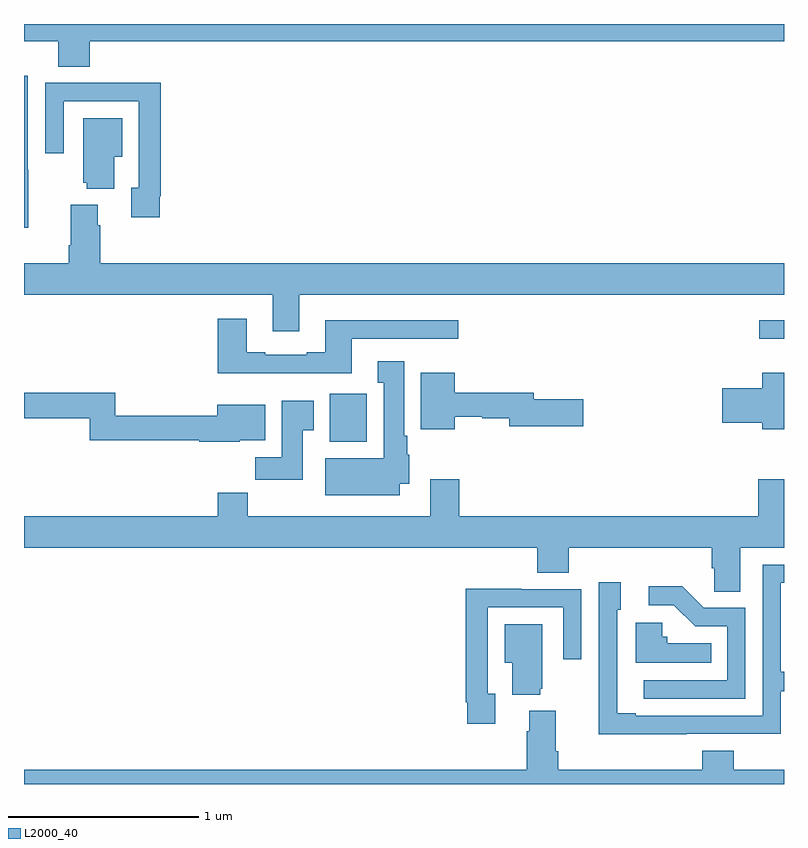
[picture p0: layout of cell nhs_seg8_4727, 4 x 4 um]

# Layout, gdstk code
import gdstk
lib = gdstk.Library(unit=1e-6, precision=1e-09)
def R(c, l, rs):  # rectangles x0, y0, x1, y1
    for r in rs: c.add(gdstk.rectangle(r[:2], r[2:], *l))
def P(c, l, *ps):  # polygons
    for p in ps: c.add(gdstk.Polygon(p, *l))
L2000_40 = (2000, 40)

nhs_seg8_4727 = lib.new_cell('nhs_seg8_4727')
R(nhs_seg8_4727, L2000_40, [(398.609,1139.702,398.805,1139.953), (400.869,1140.243,401,1140.34)])
P(nhs_seg8_4727, L2000_40, [(397.346,1141.808),(401,1141.808),(401,1141.9),(397,1141.9),(397,1141.808),(397.181,1141.808),(397.181,1141.675),(397.346,1141.675)],
  [(397.023,1141.133),(397.02,1141.133),(397.02,1141.627),(397,1141.627),(397,1140.827),(397.023,1140.827)],
  [(397.714,1140.994),(397.721,1140.994),(397.721,1141.592),(397.429,1141.592),(397.429,1141.59),(397.113,1141.59),(397.113,1141.221),(397.209,1141.221),(397.209,1141.494),(397.605,1141.494),(397.605,1141.038),(397.565,1141.038),(397.565,1140.882),(397.714,1140.882)],
  [(397.474,1141.202),(397.516,1141.202),(397.516,1141.405),(397.313,1141.405),(397.313,1141.065),(397.331,1141.065),(397.331,1141.034),(397.474,1141.034)],
  [(398.449,1140.476),(401,1140.476),(401,1140.64),(397.4,1140.64),(397.4,1140.842),(397.387,1140.842),(397.387,1140.949),(397.247,1140.949),(397.247,1140.736),(397.235,1140.736),(397.235,1140.64),(397,1140.64),(397,1140.476),(398.309,1140.476),(398.309,1140.282),(398.449,1140.282)],
  [(398.725,1140.243),(399.286,1140.243),(399.286,1140.34),(398.585,1140.34),(398.585,1140.172),(398.489,1140.172),(398.489,1140.159),(398.269,1140.159),(398.269,1140.172),(398.173,1140.172),(398.173,1140.349),(398.021,1140.349),(398.021,1140.062),(398.725,1140.062)],
  [(398.977,1139.48),(399.028,1139.48),(399.028,1139.634),(399.016,1139.634),(399.016,1139.734),(399.001,1139.734),(399.001,1140.124),(398.861,1140.124),(398.861,1140.011),(398.894,1140.011),(398.894,1139.614),(398.585,1139.614),(398.585,1139.42),(398.977,1139.42)],
  [(399.268,1139.832),(399.411,1139.832),(399.411,1139.824),(399.554,1139.824),(399.554,1139.782),(399.943,1139.782),(399.943,1139.924),(399.682,1139.924),(399.682,1139.96),(399.268,1139.96),(399.268,1140.064),(399.089,1140.064),(399.089,1139.768),(399.268,1139.768)],
  [(401,1140.064),(400.886,1140.064),(400.886,1139.984),(400.674,1139.984),(400.674,1139.801),(400.886,1139.801),(400.886,1139.768),(401,1139.768)],
  [(398.136,1139.708),(398.269,1139.708),(398.269,1139.896),(398.018,1139.896),(398.018,1139.837),(397.481,1139.837),(397.481,1139.96),(397,1139.96),(397,1139.824),(397.345,1139.824),(397.345,1139.709),(397.922,1139.709),(397.922,1139.702),(398.136,1139.702)],
  [(398.467,1139.761),(398.524,1139.761),(398.524,1139.917),(398.357,1139.917),(398.357,1139.62),(398.218,1139.62),(398.218,1139.502),(398.467,1139.502)],
  [(399.29,1139.503),(399.137,1139.503),(399.137,1139.308),(398.177,1139.308),(398.177,1139.432),(398.021,1139.432),(398.021,1139.308),(397,1139.308),(397,1139.144),(399.701,1139.144),(399.701,1139.011),(399.866,1139.011),(399.866,1139.144),(400.619,1139.144),(400.619,1139.035),(400.632,1139.035),(400.632,1138.912),(400.771,1138.912),(400.771,1139.144),(401,1139.144),(401,1139.503),(400.865,1139.503),(400.865,1139.308),(399.29,1139.308)],
  [(400.487,1138.164),(400.983,1138.164),(400.983,1138.389),(401,1138.389),(401,1138.49),(400.983,1138.49),(400.983,1138.959),(401,1138.959),(401,1139.055),(400.887,1139.055),(400.887,1138.26),(400.219,1138.26),(400.219,1138.273),(400.122,1138.273),(400.122,1138.818),(400.141,1138.818),(400.141,1138.963),(400.026,1138.963),(400.026,1138.469),(400.024,1138.469),(400.024,1138.163),(400.487,1138.163)],
  [(400.797,1138.827),(400.578,1138.827),(400.465,1138.94),(400.287,1138.94),(400.287,1138.842),(400.421,1138.842),(400.532,1138.731),(400.701,1138.731),(400.701,1138.446),(400.263,1138.446),(400.263,1138.35),(400.797,1138.35)],
  [(399.481,1138.374),(399.441,1138.374),(399.441,1138.83),(399.837,1138.83),(399.837,1138.557),(399.933,1138.557),(399.933,1138.926),(399.617,1138.926),(399.617,1138.928),(399.325,1138.928),(399.325,1138.33),(399.333,1138.33),(399.333,1138.218),(399.481,1138.218)],
  [(400.616,1138.642),(400.386,1138.642),(400.386,1138.674),(400.359,1138.674),(400.359,1138.75),(400.22,1138.75),(400.22,1138.538),(400.616,1138.538)],
  [(399.716,1138.401),(399.727,1138.401),(399.727,1138.741),(399.53,1138.741),(399.53,1138.538),(399.569,1138.538),(399.569,1138.37),(399.716,1138.37)],
  [(397,1137.9),(401,1137.9),(401,1137.976),(400.736,1137.976),(400.736,1138.075),(400.571,1138.075),(400.571,1137.976),(399.812,1137.976),(399.812,1138.072),(399.799,1138.072),(399.799,1138.285),(399.659,1138.285),(399.659,1138.178),(399.647,1138.178),(399.647,1137.976),(397,1137.976)])

lib.write_gds('nhs_seg8_4727.gds')
